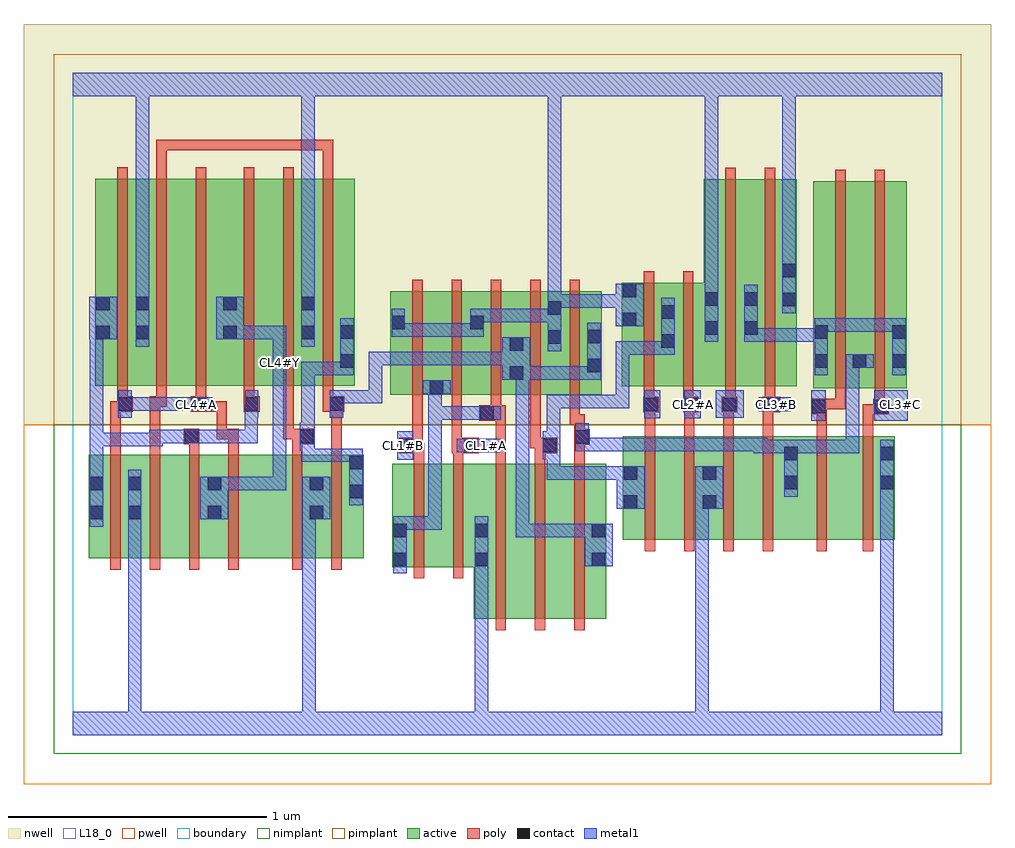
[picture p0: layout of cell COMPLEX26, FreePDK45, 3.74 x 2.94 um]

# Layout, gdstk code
import gdstk
lib = gdstk.Library(unit=1e-6, precision=1e-09)
def R(c, l, rs):  # rectangles x0, y0, x1, y1
    for r in rs: c.add(gdstk.rectangle(r[:2], r[2:], *l))
def A(c, l, x, y, w, h, nx, ny, dx, dy):  # array of equal rectangles
    R(c, l, [(x+i*dx, y+j*dy, x+i*dx+w, y+j*dy+h) for i in range(nx) for j in range(ny)])
active = (1, 0)
pwell = (2, 0)
nwell = (3, 0)
nimplant = (4, 0)
pimplant = (5, 0)
poly = (9, 0)
contact = (10, 0)
metal1 = (11, 0)
L18_0 = (18, 0)
boundary = (235, 0)

complex26 = lib.new_cell('COMPLEX26')
R(complex26, active, [(1.55,0.45,1.73,1.05), (1.55,0.45,1.61,1.05), (1.73,0.45,1.882,1.05), (1.882,0.45,2.062,1.05), (2.002,0.556,2.062,1.05), (1.234,0.65,1.294,1.05), (1.234,0.65,1.414,1.05), (1.414,0.65,1.61,1.05), (0.062,0.684,0.27,1.084), (0.21,0.684,0.394,1.084), (0.394,0.684,0.578,1.084), (0.518,0.684,0.792,1.084), (0.792,0.684,0.972,1.084), (0.912,0.684,0.972,1.084), (0.912,0.684,1.124,1.084), (0.062,0.756,0.122,1.084), (0.21,0.756,0.27,1.084), (0.518,0.756,0.578,1.084), (1.064,0.756,1.124,1.084), (2.126,0.756,2.186,1.156), (2.126,0.756,2.306,1.156), (2.306,0.756,2.49,1.156), (2.43,0.756,2.61,1.156), (2.43,0.756,2.49,1.044), (2.61,0.756,2.806,1.156), (2.746,0.756,2.97,1.156), (2.746,0.756,2.806,1.118), (2.97,0.756,3.176,1.156), (3.116,0.756,3.176,1.156), (1.228,1.316,1.288,1.716), (1.228,1.316,1.436,1.716), (1.376,1.316,1.436,1.644), (1.376,1.316,1.592,1.716), (1.532,1.316,1.744,1.716), (1.684,1.316,1.744,1.716), (1.684,1.316,1.892,1.716), (1.832,1.316,2.044,1.716), (1.984,1.316,2.044,1.644), (2.862,1.34,2.922,2.044), (2.862,1.34,3.07,2.14), (3.01,1.34,3.07,2.044), (3.01,1.34,3.222,2.14), (3.162,1.34,3.222,2.044), (2.122,1.348,2.182,1.748), (2.122,1.348,2.33,1.748), (2.27,1.348,2.498,1.748), (2.438,1.348,2.65,2.148), (2.59,1.348,2.798,2.148), (2.59,1.348,2.65,2.044), (2.738,1.348,2.798,2.044), (0.088,1.35,0.3,2.15), (0.088,1.35,0.148,2.044), (0.24,1.35,0.42,2.15), (0.42,1.35,0.638,2.15), (0.578,1.35,0.758,2.15), (0.758,1.35,0.94,2.15), (0.88,1.35,1.09,2.15), (1.03,1.35,1.09,2.044), (1.532,1.38,1.592,1.716), (1.832,1.38,1.892,1.716), (2.438,1.39,2.498,1.716), (2.27,1.394,2.33,1.748), (0.24,1.526,0.3,2.044), (0.578,1.526,0.638,2.044), (0.88,1.526,0.94,2.044)])
R(complex26, pwell, [(-0.188,-0.188,3.548,1.2)])
R(complex26, nwell, [(-0.188,1.2,3.548,2.748)])
R(complex26, nimplant, [(-0.072,-0.072,3.432,1.2)])
R(complex26, pimplant, [(-0.072,1.2,3.432,2.632)])
A(complex26, poly, 1.634, 0.406, 0.04, 0.688, 3, 1, 0.152, 0)
A(complex26, poly, 0.146, 0.64, 0.04, 0.488, 4, 1, 0.152, 0)
A(complex26, poly, 2.21, 0.712, 0.04, 0.488, 4, 1, 0.152, 0)
A(complex26, poly, 2.21, 1.16, 0.04, 0.128, 4, 1, 0.152, 0)
A(complex26, poly, 0.172, 1.27, 0.04, 0.076, 3, 1, 0.152, 0)
A(complex26, poly, 1.312, 1.272, 0.04, 0.488, 5, 1, 0.152, 0)
A(complex26, poly, 0.172, 1.306, 0.04, 0.888, 3, 1, 0.152, 0)
A(complex26, poly, 0.662, 1.306, 0.04, 0.888, 3, 1, 0.152, 0)
A(complex26, poly, 0.476, 2.26, 0.04, 0.04, 3, 1, 0.106, 0)
R(complex26, poly, [(1.318,0.606,1.358,1.094), (1.47,0.606,1.51,1.094), (0.848,0.64,0.888,1.128), (1,0.64,1.04,1.128), (2.874,0.712,2.914,1.2), (3.052,0.712,3.092,1.2), (1.318,1.054,1.358,1.13), (1.47,1.054,1.51,1.13), (1.634,1.054,1.674,1.256), (1.786,1.054,1.826,1.13), (1.938,1.054,1.978,1.162), (0.146,1.088,0.186,1.29), (0.298,1.088,0.338,1.31), (0.45,1.088,0.49,1.164), (0.602,1.088,0.642,1.184), (0.848,1.088,0.888,1.164), (1,1.088,1.04,1.29), (1.26,1.09,1.352,1.15), (1.312,1.09,1.352,1.13), (1.312,1.09,1.358,1.13), (1.464,1.09,1.568,1.15), (1.786,1.09,1.872,1.15), (1.312,1.11,1.352,1.312), (1.464,1.11,1.504,1.15), (1.464,1.11,1.504,1.15), (1.464,1.11,1.504,1.312), (1.768,1.11,1.826,1.15), (1.768,1.11,1.808,1.312), (1.786,1.11,1.826,1.15), (1.938,1.122,1.998,1.182), (0.43,1.124,0.49,1.184), (0.848,1.124,0.934,1.184), (1.938,1.142,1.978,1.24), (0.556,1.144,0.596,1.184), (0.556,1.144,0.596,1.29), (0.556,1.144,0.642,1.184), (0.602,1.144,0.642,1.184), (0.814,1.144,0.854,1.346), (0.814,1.144,0.888,1.184), (0.848,1.144,0.888,1.184), (2.874,1.16,2.914,1.28), (3.052,1.16,3.092,1.28), (1.92,1.2,1.96,1.312), (1.92,1.2,1.978,1.24), (1.57,1.216,1.674,1.276), (1.634,1.216,1.674,1.256), (1.634,1.216,1.674,1.256), (1.616,1.236,1.656,1.312), (2.854,1.24,2.914,1.3), (3.052,1.24,3.132,1.28), (3.092,1.24,3.132,1.28), (3.092,1.24,3.152,1.3), (2.204,1.248,2.264,1.308), (2.21,1.248,2.25,1.288), (2.21,1.248,2.25,1.288), (2.358,1.248,2.418,1.308), (2.362,1.248,2.402,1.288), (2.362,1.248,2.402,1.288), (2.508,1.248,2.568,1.308), (2.666,1.248,2.706,1.288), (2.666,1.248,2.706,1.288), (2.666,1.248,2.734,1.308), (0.146,1.25,0.212,1.29), (0.172,1.25,0.212,1.29), (0.172,1.25,0.232,1.31), (0.456,1.25,0.516,1.31), (0.476,1.25,0.596,1.29), (0.556,1.25,0.596,1.29), (0.662,1.25,0.722,1.31), (0.966,1.25,1.05,1.31), (1,1.25,1.04,1.29), (1,1.25,1.04,1.29), (2.874,1.26,2.914,1.3), (2.874,1.26,2.986,1.3), (2.946,1.26,2.986,1.336), (3.098,1.26,3.138,1.336), (2.206,1.268,2.246,1.344), (2.358,1.268,2.398,1.344), (2.522,1.268,2.562,1.344), (2.522,1.268,2.562,1.308), (2.522,1.268,2.562,1.308), (2.674,1.268,2.714,1.344), (0.298,1.27,0.354,1.31), (0.314,1.27,0.354,1.31), (0.314,1.27,0.364,1.31), (0.662,1.27,0.702,1.346), (0.966,1.27,1.006,1.346), (2.946,1.296,2.986,2.184), (3.098,1.296,3.138,2.184), (2.206,1.304,2.246,1.792), (2.358,1.304,2.398,1.792), (2.522,1.304,2.562,2.192), (2.674,1.304,2.714,2.192), (0.324,2.154,0.364,2.3), (0.966,2.154,1.006,2.3), (0.324,2.26,0.364,2.3), (0.324,2.26,0.364,2.3), (0.324,2.26,0.364,2.3), (0.324,2.26,0.516,2.3), (0.476,2.26,0.516,2.3), (0.476,2.26,0.516,2.3), (0.476,2.26,0.622,2.3), (0.582,2.26,0.728,2.3), (0.688,2.26,0.728,2.3), (0.688,2.26,0.728,2.3), (0.688,2.26,1.006,2.3), (0.966,2.26,1.006,2.3), (0.966,2.26,1.006,2.3), (0.966,2.26,1.006,2.3)])
R(complex26, contact, [(1.238,0.654,1.29,0.706), (1.554,0.654,1.606,0.706), (2.006,0.654,2.058,0.706), (1.238,0.766,1.29,0.818), (1.554,0.766,1.606,0.818), (2.006,0.766,2.058,0.818), (0.066,0.834,0.118,0.886), (0.214,0.834,0.266,0.886), (0.522,0.834,0.574,0.886), (0.916,0.834,0.968,0.886), (2.13,0.876,2.182,0.928), (2.434,0.876,2.486,0.928), (1.068,0.916,1.12,0.968), (0.066,0.946,0.118,0.998), (0.214,0.946,0.266,0.998), (0.522,0.946,0.574,0.998), (0.916,0.946,0.968,0.998), (2.75,0.95,2.802,1.002), (3.12,0.95,3.172,1.002), (2.13,0.988,2.182,1.04), (2.434,0.988,2.486,1.04), (1.068,1.028,1.12,1.08), (2.75,1.062,2.802,1.114), (3.12,1.062,3.172,1.114), (1.264,1.094,1.316,1.146), (1.512,1.094,1.564,1.146), (1.816,1.094,1.868,1.146), (1.942,1.126,1.994,1.178), (0.434,1.128,0.486,1.18), (0.878,1.128,0.93,1.18), (1.574,1.22,1.626,1.272), (2.858,1.244,2.91,1.296), (3.096,1.244,3.148,1.296), (2.208,1.252,2.26,1.304), (2.362,1.252,2.414,1.304), (2.512,1.252,2.564,1.304), (2.678,1.252,2.73,1.304), (0.176,1.254,0.228,1.306), (0.46,1.254,0.512,1.306), (0.666,1.254,0.718,1.306), (0.994,1.254,1.046,1.306), (1.38,1.32,1.432,1.372), (1.688,1.374,1.74,1.426), (1.988,1.402,2.04,1.454), (1.034,1.42,1.086,1.472), (2.866,1.42,2.918,1.472), (3.014,1.42,3.066,1.472), (3.166,1.42,3.218,1.472), (1.688,1.486,1.74,1.538), (2.274,1.498,2.326,1.55), (1.836,1.512,1.888,1.564), (1.988,1.514,2.04,1.566), (0.092,1.53,0.144,1.582), (0.244,1.53,0.296,1.582), (0.582,1.53,0.634,1.582), (0.884,1.53,0.936,1.582), (1.034,1.532,1.086,1.584), (2.866,1.532,2.918,1.584), (3.166,1.532,3.218,1.584), (2.442,1.548,2.494,1.6), (2.594,1.548,2.646,1.6), (1.232,1.568,1.284,1.62), (1.536,1.568,1.588,1.62), (2.126,1.58,2.178,1.632), (2.274,1.61,2.326,1.662), (1.836,1.624,1.888,1.676), (0.092,1.642,0.144,1.694), (0.244,1.642,0.296,1.694), (0.582,1.642,0.634,1.694), (0.884,1.642,0.936,1.694), (2.742,1.658,2.794,1.71), (2.442,1.66,2.494,1.712), (2.594,1.66,2.646,1.712), (2.126,1.692,2.178,1.744), (2.742,1.77,2.794,1.822)])
R(complex26, metal1, [(0,0,3.36,0.092), (0.214,0.04,0.266,0.092), (0.214,0.04,0.266,0.092), (0.214,0.04,0.266,0.092), (0.214,0.04,0.266,0.092), (0.214,0.04,0.266,0.402), (0.888,0.04,0.94,0.886), (1.554,0.04,1.606,0.092), (1.554,0.04,1.606,0.092), (1.554,0.04,1.606,0.678), (2.406,0.04,2.458,0.092), (2.406,0.04,2.458,0.092), (2.406,0.04,2.458,0.092), (2.406,0.04,2.458,0.092), (2.406,0.04,2.458,0.092), (2.406,0.04,2.458,0.092), (2.406,0.04,2.458,0.092), (2.406,0.04,2.458,0.092), (2.406,0.04,2.458,0.092), (2.406,0.04,2.458,0.092), (2.406,0.04,2.458,0.092), (2.406,0.04,2.458,0.092), (2.406,0.04,2.458,0.928), (3.12,0.04,3.172,0.092), (3.12,0.04,3.172,0.092), (3.12,0.04,3.172,0.092), (3.12,0.04,3.172,0.092), (3.12,0.04,3.172,0.974), (0.214,0.35,0.266,0.402), (0.214,0.35,0.266,0.858), (1.238,0.626,1.29,0.846), (1.554,0.626,1.606,0.678), (1.554,0.626,1.606,0.678), (1.554,0.626,1.606,0.678), (1.554,0.626,1.606,0.678), (1.554,0.626,1.606,0.678), (1.554,0.626,1.606,0.678), (1.554,0.626,1.606,0.846), (1.978,0.654,2.086,0.818), (1.712,0.766,1.764,0.818), (1.712,0.766,1.764,0.818), (1.712,0.766,1.764,0.818), (1.712,0.766,1.878,0.818), (1.712,0.766,1.764,1.426), (1.826,0.766,1.878,0.818), (1.826,0.766,1.878,0.818), (1.826,0.766,1.878,0.818), (1.826,0.766,2.03,0.818), (1.978,0.766,2.03,0.818), (1.978,0.766,2.03,0.818), (1.238,0.794,1.29,0.846), (1.238,0.794,1.29,0.846), (1.238,0.794,1.29,0.846), (1.238,0.794,1.29,0.846), (1.238,0.794,1.426,0.846), (1.374,0.794,1.426,0.846), (1.374,0.794,1.426,1.272), (0.066,0.806,0.118,1.026), (0.214,0.806,0.266,0.858), (0.214,0.806,0.266,0.858), (0.214,0.806,0.266,0.858), (0.214,0.806,0.266,0.858), (0.214,0.806,0.266,0.858), (0.214,0.806,0.266,0.858), (0.214,0.806,0.266,1.026), (0.494,0.834,0.602,0.998), (0.888,0.834,0.94,0.886), (0.888,0.834,0.94,0.886), (0.888,0.834,0.94,0.886), (0.888,0.834,0.94,0.886), (0.888,0.834,0.94,0.886), (0.888,0.834,0.94,0.886), (0.888,0.834,0.94,0.886), (0.888,0.834,0.94,0.886), (0.888,0.834,0.94,0.886), (0.888,0.834,0.94,0.886), (0.888,0.834,0.94,0.886), (0.888,0.834,0.94,0.886), (0.888,0.834,0.996,0.998), (2.102,0.876,2.21,1.04), (2.406,0.876,2.514,1.04), (1.068,0.888,1.12,1.108), (2.75,0.922,2.802,1.142), (3.12,0.922,3.172,0.974), (3.12,0.922,3.172,0.974), (3.12,0.922,3.172,0.974), (3.12,0.922,3.172,0.974), (3.12,0.922,3.172,0.974), (3.12,0.922,3.172,0.974), (3.12,0.922,3.172,0.974), (3.12,0.922,3.172,0.974), (3.12,0.922,3.172,1.142), (0.55,0.946,0.82,0.998), (0.768,0.946,0.82,0.998), (0.768,0.946,0.826,0.998), (0.774,0.946,0.826,0.998), (0.774,0.946,0.826,1.438), (0.066,0.974,0.118,1.168), (1.832,0.988,1.884,1.04), (1.832,0.988,1.998,1.04), (1.832,0.988,1.884,1.174), (1.946,0.988,1.998,1.04), (1.946,0.988,1.998,1.04), (1.946,0.988,1.998,1.04), (1.946,0.988,2.154,1.04), (0.884,1.056,0.936,1.108), (0.884,1.056,1.054,1.108), (0.884,1.056,0.936,1.208), (1.002,1.056,1.054,1.108), (1.002,1.056,1.12,1.108), (1.254,1.064,1.316,1.174), (1.816,1.066,1.868,1.174), (2.632,1.09,2.802,1.142), (2.632,1.09,2.684,1.15), (2.75,1.09,2.802,1.142), (2.75,1.09,2.802,1.142), (2.75,1.09,3.038,1.142), (2.986,1.09,3.038,1.142), (2.986,1.09,3.038,1.142), (2.986,1.09,3.038,1.142), (2.986,1.09,3.038,1.142), (2.986,1.09,3.038,1.142), (2.986,1.09,3.038,1.142), (2.986,1.09,3.038,1.142), (2.986,1.09,3.038,1.472), (1.484,1.094,1.654,1.146), (1.942,1.098,1.998,1.15), (1.942,1.098,1.994,1.206), (1.946,1.098,1.998,1.15), (1.946,1.098,2.15,1.15), (2.098,1.098,2.15,1.15), (2.098,1.098,2.15,1.15), (2.098,1.098,2.15,1.15), (2.098,1.098,2.346,1.15), (2.294,1.098,2.346,1.15), (2.294,1.098,2.346,1.15), (2.294,1.098,2.346,1.15), (2.294,1.098,2.346,1.15), (2.294,1.098,2.346,1.15), (2.294,1.098,2.536,1.15), (2.484,1.098,2.536,1.15), (2.484,1.098,2.536,1.15), (2.484,1.098,2.536,1.15), (2.484,1.098,2.684,1.15), (2.632,1.098,2.684,1.15), (2.632,1.098,2.684,1.15), (0.878,1.1,0.93,1.208), (0.066,1.116,0.118,1.168), (0.066,1.116,0.118,1.168), (0.066,1.116,0.118,1.168), (0.066,1.116,0.228,1.168), (0.066,1.116,0.118,1.582), (0.176,1.116,0.228,1.168), (0.176,1.116,0.348,1.168), (0.296,1.116,0.348,1.168), (0.296,1.116,0.348,1.168), (0.296,1.116,0.348,1.18), (1.816,1.122,1.884,1.174), (1.832,1.122,1.884,1.174), (1.832,1.122,1.884,1.316), (0.296,1.128,0.458,1.18), (0.406,1.128,0.514,1.18), (0.462,1.128,0.716,1.18), (0.664,1.128,0.716,1.18), (0.664,1.128,0.716,1.278), (0.878,1.156,0.936,1.208), (0.884,1.156,0.936,1.208), (0.884,1.156,0.936,1.444), (2.854,1.216,2.91,1.334), (3.096,1.216,3.226,1.334), (1.374,1.22,1.426,1.272), (1.374,1.22,1.426,1.272), (1.374,1.22,1.426,1.272), (1.374,1.22,1.598,1.272), (1.374,1.22,1.426,1.372), (1.546,1.22,1.598,1.272), (1.546,1.22,1.598,1.272), (1.546,1.22,1.654,1.272), (2.208,1.224,2.27,1.334), (2.362,1.224,2.426,1.334), (0.176,1.226,0.228,1.334), (0.664,1.226,0.716,1.278), (0.664,1.226,0.718,1.278), (0.666,1.226,0.718,1.334), (0.994,1.226,1.046,1.334), (2.484,1.226,2.592,1.334), (2.65,1.252,2.774,1.306), (0.176,1.254,0.228,1.306), (0.176,1.254,0.228,1.306), (0.176,1.254,0.338,1.306), (0.286,1.254,0.338,1.306), (0.286,1.254,0.338,1.306), (0.286,1.254,0.338,1.306), (0.286,1.254,0.478,1.306), (0.426,1.254,0.54,1.306), (1.832,1.264,1.884,1.316), (1.832,1.264,1.998,1.316), (1.946,1.264,1.998,1.316), (1.946,1.264,1.998,1.316), (1.946,1.264,1.998,1.316), (1.946,1.264,2.15,1.316), (2.098,1.264,2.15,1.316), (2.098,1.264,2.15,1.522), (0.994,1.282,1.046,1.334), (0.994,1.282,1.046,1.334), (0.994,1.282,1.196,1.334), (1.144,1.282,1.196,1.334), (1.144,1.282,1.196,1.334), (1.144,1.282,1.196,1.334), (1.144,1.282,1.196,1.482), (1.352,1.32,1.46,1.372), (1.66,1.374,1.768,1.538), (1.712,1.374,1.764,1.426), (1.712,1.374,1.764,1.426), (1.712,1.374,1.764,1.426), (1.712,1.374,1.764,1.426), (1.716,1.374,1.768,1.426), (1.716,1.374,1.768,1.426), (1.716,1.374,1.878,1.426), (1.826,1.374,1.878,1.426), (1.826,1.374,1.994,1.426), (1.942,1.374,1.994,1.426), (1.942,1.374,2.04,1.426), (1.988,1.374,2.04,1.594), (0.774,1.386,0.826,1.494), (0.884,1.392,0.936,1.444), (0.884,1.392,0.936,1.444), (0.884,1.392,0.936,1.444), (0.884,1.392,1.086,1.444), (1.034,1.392,1.086,1.444), (1.034,1.392,1.086,1.444), (1.034,1.392,1.086,1.612), (2.866,1.392,2.918,1.612), (3.166,1.392,3.218,1.612), (2.986,1.42,3.094,1.472), (1.144,1.43,1.196,1.482), (1.144,1.43,1.316,1.482), (1.264,1.43,1.316,1.482), (1.264,1.43,1.426,1.482), (1.374,1.43,1.426,1.482), (1.374,1.43,1.426,1.482), (1.374,1.43,1.426,1.482), (1.374,1.43,1.602,1.482), (1.55,1.43,1.602,1.482), (1.55,1.43,1.602,1.482), (1.55,1.43,1.602,1.482), (1.55,1.43,1.602,1.482), (1.55,1.43,1.602,1.482), (1.55,1.43,1.712,1.482), (0.774,1.442,0.826,1.494), (0.774,1.442,0.826,1.494), (0.774,1.442,0.826,1.582), (2.098,1.47,2.15,1.522), (2.098,1.47,2.15,1.522), (2.098,1.47,2.15,1.522), (2.098,1.47,2.326,1.522), (2.274,1.47,2.326,1.69), (1.836,1.484,1.888,1.704), (0.244,1.502,0.296,1.722), (0.884,1.502,0.936,1.722), (2.442,1.52,2.494,1.74), (2.594,1.52,2.646,1.572), (2.594,1.52,2.646,1.572), (2.594,1.52,2.646,1.74), (2.594,1.52,2.796,1.572), (2.744,1.52,2.796,1.572), (2.744,1.52,2.918,1.572), (0.064,1.53,0.172,1.694), (0.066,1.53,0.118,1.582), (0.066,1.53,0.118,1.582), (0.554,1.53,0.662,1.694), (0.61,1.53,0.662,1.582), (0.61,1.53,0.662,1.582), (0.61,1.53,0.826,1.582), (0.774,1.53,0.826,1.582), (1.232,1.54,1.284,1.592), (1.232,1.54,1.284,1.592), (1.232,1.54,1.284,1.648), (1.232,1.54,1.478,1.592), (1.426,1.54,1.478,1.592), (1.426,1.54,1.478,1.592), (1.426,1.54,1.478,1.592), (1.426,1.54,1.588,1.592), (1.536,1.54,1.588,1.648), (2.866,1.56,2.918,1.612), (2.866,1.56,2.918,1.612), (2.866,1.56,3.038,1.612), (2.986,1.56,3.038,1.612), (2.986,1.56,3.038,1.612), (2.986,1.56,3.038,1.612), (2.986,1.56,3.218,1.612), (3.166,1.56,3.218,1.612), (3.166,1.56,3.218,1.612), (2.098,1.58,2.206,1.744), (1.536,1.596,1.588,1.648), (1.536,1.596,1.588,1.648), (1.536,1.596,1.768,1.648), (1.716,1.596,1.768,1.648), (1.716,1.596,1.878,1.648), (1.826,1.596,1.878,1.648), (1.826,1.596,1.888,1.648), (2.742,1.63,2.794,1.85), (1.836,1.652,1.888,1.704), (1.836,1.652,1.888,1.704), (1.836,1.652,1.888,1.704), (1.836,1.652,1.888,1.704), (1.836,1.652,1.888,1.704), (1.836,1.652,1.888,1.704), (1.836,1.652,1.888,1.704), (1.836,1.652,1.888,1.704), (1.836,1.652,1.888,1.704), (1.836,1.652,1.888,1.704), (1.836,1.652,1.888,1.704), (1.836,1.652,1.888,1.704), (1.836,1.652,1.888,1.704), (1.836,1.652,1.888,1.704), (1.836,1.652,1.888,1.704), (1.836,1.652,1.888,1.704), (1.836,1.652,2.04,1.704), (1.836,1.652,1.888,2.52), (1.988,1.652,2.04,1.704), (1.988,1.652,2.04,1.704), (1.988,1.652,2.04,1.704), (1.988,1.652,2.15,1.704), (0.244,1.67,0.296,1.722), (0.244,1.67,0.296,1.722), (0.244,1.67,0.296,1.722), (0.244,1.67,0.296,1.722), (0.244,1.67,0.296,2.52), (0.884,1.67,0.936,1.722), (0.884,1.67,0.936,1.722), (0.884,1.67,0.936,2.52), (2.442,1.688,2.494,1.74), (2.442,1.688,2.494,1.74), (2.442,1.688,2.494,2.52), (2.742,1.798,2.794,1.85), (2.742,1.798,2.794,1.85), (2.742,1.798,2.794,1.85), (2.742,1.798,2.794,1.85), (2.742,1.798,2.794,1.85), (2.742,1.798,2.794,1.85), (2.742,1.798,2.794,1.85), (2.742,1.798,2.794,1.85), (2.742,1.798,2.794,2.52), (0,2.468,3.36,2.56), (0.244,2.468,0.296,2.52), (0.244,2.468,0.296,2.52), (0.244,2.468,0.296,2.52), (0.244,2.468,0.296,2.52), (0.884,2.468,0.936,2.52), (0.884,2.468,0.936,2.52), (0.884,2.468,0.936,2.52), (0.884,2.468,0.936,2.52), (0.884,2.468,0.936,2.52), (0.884,2.468,0.936,2.52), (2.442,2.468,2.494,2.52), (2.442,2.468,2.494,2.52), (2.442,2.468,2.494,2.52), (2.442,2.468,2.494,2.52), (2.442,2.468,2.494,2.52), (2.442,2.468,2.494,2.52)])
A(complex26, L18_0, 2.214, 1.254, 0.052, 0.052, 5, 1, 0.16, 0)
R(complex26, L18_0, [(0,0,3.36,0.092), (0.214,0.04,0.266,0.092), (0.214,0.04,0.266,0.092), (0.214,0.04,0.266,0.092), (0.214,0.04,0.266,0.092), (0.214,0.04,0.266,0.402), (0.888,0.04,0.94,0.886), (1.554,0.04,1.606,0.092), (1.554,0.04,1.606,0.092), (1.554,0.04,1.606,0.678), (2.406,0.04,2.458,0.092), (2.406,0.04,2.458,0.092), (2.406,0.04,2.458,0.092), (2.406,0.04,2.458,0.092), (2.406,0.04,2.458,0.092), (2.406,0.04,2.458,0.092), (2.406,0.04,2.458,0.092), (2.406,0.04,2.458,0.092), (2.406,0.04,2.458,0.092), (2.406,0.04,2.458,0.092), (2.406,0.04,2.458,0.092), (2.406,0.04,2.458,0.092), (2.406,0.04,2.458,0.928), (3.12,0.04,3.172,0.092), (3.12,0.04,3.172,0.092), (3.12,0.04,3.172,0.092), (3.12,0.04,3.172,0.092), (3.12,0.04,3.172,0.974), (0.214,0.35,0.266,0.402), (0.214,0.35,0.266,0.858), (1.554,0.626,1.606,0.678), (1.554,0.626,1.606,0.678), (1.554,0.626,1.606,0.678), (1.554,0.626,1.606,0.678), (1.554,0.626,1.606,0.678), (1.554,0.626,1.606,0.678), (1.554,0.626,1.606,0.846), (0.214,0.806,0.266,0.858), (0.214,0.806,0.266,0.858), (0.214,0.806,0.266,0.858), (0.214,0.806,0.266,0.858), (0.214,0.806,0.266,0.858), (0.214,0.806,0.266,0.858), (0.214,0.806,0.266,1.026), (0.494,0.834,0.602,0.998), (0.888,0.834,0.94,0.886), (0.888,0.834,0.94,0.886), (0.888,0.834,0.94,0.886), (0.888,0.834,0.94,0.886), (0.888,0.834,0.94,0.886), (0.888,0.834,0.94,0.886), (0.888,0.834,0.94,0.886), (0.888,0.834,0.94,0.886), (0.888,0.834,0.94,0.886), (0.888,0.834,0.94,0.886), (0.888,0.834,0.94,0.886), (0.888,0.834,0.94,0.886), (0.888,0.834,0.996,0.998), (2.406,0.876,2.514,1.04), (3.12,0.922,3.172,0.974), (3.12,0.922,3.172,0.974), (3.12,0.922,3.172,0.974), (3.12,0.922,3.172,0.974), (3.12,0.922,3.172,0.974), (3.12,0.922,3.172,0.974), (3.12,0.922,3.172,0.974), (3.12,0.922,3.172,0.974), (3.12,0.922,3.172,1.142), (0.55,0.946,0.82,0.998), (0.768,0.946,0.82,0.998), (0.768,0.946,0.826,0.998), (0.774,0.946,0.826,0.998), (0.774,0.946,0.826,1.438), (1.254,1.064,1.316,1.174), (1.254,1.094,1.306,1.146), (1.484,1.094,1.654,1.146), (1.574,1.094,1.626,1.146), (2.854,1.216,2.91,1.334), (3.096,1.216,3.226,1.334), (2.208,1.224,2.27,1.334), (2.362,1.224,2.426,1.334), (0.176,1.226,0.228,1.334), (2.484,1.226,2.592,1.334), (2.65,1.252,2.774,1.306), (0.176,1.254,0.228,1.306), (0.176,1.254,0.228,1.306), (0.176,1.254,0.338,1.306), (0.286,1.254,0.338,1.306), (0.286,1.254,0.338,1.306), (0.286,1.254,0.338,1.306), (0.286,1.254,0.478,1.306), (0.426,1.254,0.54,1.306), (0.454,1.254,0.506,1.306), (3.174,1.254,3.226,1.306), (0.774,1.386,0.826,1.494), (0.774,1.414,0.826,1.466), (0.774,1.442,0.826,1.494), (0.774,1.442,0.826,1.494), (0.774,1.442,0.826,1.582), (1.836,1.484,1.888,1.704), (0.244,1.502,0.296,1.722), (0.884,1.502,0.936,1.722), (2.442,1.52,2.494,1.74), (0.554,1.53,0.662,1.694), (0.61,1.53,0.662,1.582), (0.61,1.53,0.662,1.582), (0.61,1.53,0.826,1.582), (0.774,1.53,0.826,1.582), (1.232,1.54,1.284,1.648), (1.232,1.54,1.284,1.592), (1.232,1.54,1.284,1.592), (1.232,1.54,1.478,1.592), (1.426,1.54,1.478,1.592), (1.426,1.54,1.478,1.592), (1.426,1.54,1.478,1.592), (1.426,1.54,1.588,1.592), (1.536,1.54,1.588,1.648), (2.098,1.58,2.206,1.744), (1.536,1.596,1.588,1.648), (1.536,1.596,1.588,1.648), (1.536,1.596,1.768,1.648), (1.716,1.596,1.768,1.648), (1.716,1.596,1.878,1.648), (1.826,1.596,1.878,1.648), (1.826,1.596,1.888,1.648), (2.742,1.63,2.794,1.85), (1.836,1.652,1.888,1.704), (1.836,1.652,1.888,1.704), (1.836,1.652,1.888,1.704), (1.836,1.652,1.888,1.704), (1.836,1.652,1.888,1.704), (1.836,1.652,1.888,1.704), (1.836,1.652,1.888,1.704), (1.836,1.652,1.888,1.704), (1.836,1.652,1.888,1.704), (1.836,1.652,1.888,1.704), (1.836,1.652,1.888,1.704), (1.836,1.652,1.888,1.704), (1.836,1.652,1.888,1.704), (1.836,1.652,1.888,1.704), (1.836,1.652,1.888,1.704), (1.836,1.652,1.888,1.704), (1.836,1.652,1.888,2.52), (1.836,1.652,2.04,1.704), (1.988,1.652,2.04,1.704), (1.988,1.652,2.04,1.704), (1.988,1.652,2.04,1.704), (1.988,1.652,2.15,1.704), (0.244,1.67,0.296,1.722), (0.244,1.67,0.296,1.722), (0.244,1.67,0.296,1.722), (0.244,1.67,0.296,1.722), (0.244,1.67,0.296,2.52), (0.884,1.67,0.936,1.722), (0.884,1.67,0.936,1.722), (0.884,1.67,0.936,2.52), (2.442,1.688,2.494,1.74), (2.442,1.688,2.494,1.74), (2.442,1.688,2.494,2.52), (2.742,1.798,2.794,1.85), (2.742,1.798,2.794,1.85), (2.742,1.798,2.794,1.85), (2.742,1.798,2.794,1.85), (2.742,1.798,2.794,1.85), (2.742,1.798,2.794,1.85), (2.742,1.798,2.794,1.85), (2.742,1.798,2.794,1.85), (2.742,1.798,2.794,2.52), (0,2.468,3.36,2.56), (0.244,2.468,0.296,2.52), (0.244,2.468,0.296,2.52), (0.244,2.468,0.296,2.52), (0.244,2.468,0.296,2.52), (0.884,2.468,0.936,2.52), (0.884,2.468,0.936,2.52), (0.884,2.468,0.936,2.52), (0.884,2.468,0.936,2.52), (0.884,2.468,0.936,2.52), (0.884,2.468,0.936,2.52), (2.442,2.468,2.494,2.52), (2.442,2.468,2.494,2.52), (2.442,2.468,2.494,2.52), (2.442,2.468,2.494,2.52), (2.442,2.468,2.494,2.52), (2.442,2.468,2.494,2.52)])
R(complex26, boundary, [(0,0,3.36,2.56)])
complex26.add(gdstk.Label('CL1#A', (1.6,1.12), layer=11, texttype=0))
complex26.add(gdstk.Label('CL1#B', (1.28,1.12), layer=11, texttype=0))
complex26.add(gdstk.Label('CL2#A', (2.4,1.28), layer=11, texttype=0))
complex26.add(gdstk.Label('CL2#B', (2.24,1.28), layer=11, texttype=0))
complex26.add(gdstk.Label('CL3#A', (2.56,1.28), layer=11, texttype=0))
complex26.add(gdstk.Label('CL3#B', (2.72,1.28), layer=11, texttype=0))
complex26.add(gdstk.Label('CL3#C', (3.2,1.28), layer=11, texttype=0))
complex26.add(gdstk.Label('CL3#D', (2.88,1.28), layer=11, texttype=0))
complex26.add(gdstk.Label('CL4#A', (0.48,1.28), layer=11, texttype=0))
complex26.add(gdstk.Label('CL4#Y', (0.8,1.44), layer=11, texttype=0))

lib.write_gds('COMPLEX26.gds')
